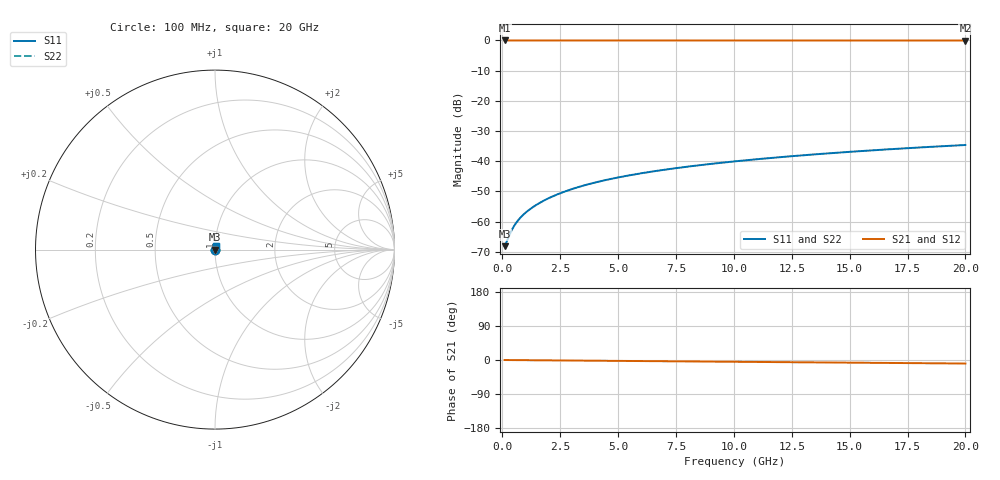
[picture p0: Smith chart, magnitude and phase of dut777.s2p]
! Touchstone file exported from HFSS 2026.1.0
!  File:  C:/ffzhzh/LocalFiles/Ansys_Project_Files/temp_train_TSV_777_1783183591_22436.aedt
!  Generated:  12:48:27 AM Jul  5, 2026
!  Design:  TSV
!  Project:  temp_train_TSV_777_1783183591_22436
! Variables:
!  h_bsmrdl = 2um
!  h_ox = 20um
!  h_rdl = 5um
!  h_sub = 98.69um
!  h_tmrdl = 5um
!  h_tsv = 98.69um
!  h_via = 3um
!  l_bsmrdl = 300um
!  l_sub = 411.8um
!  l_tmrdl = 200um
!  m_sub = 200um
!  pitch = 28.05um
!  r_tsv = 5.9um
!  s_tmrdl = 10um
!  w_bsmrdl = 18um
!  w_sub = 500um
!  w_tmrdl = 12um
!  x_tsv_center1 = 206um
!  x_tsv_center2 = 524um
!  x_tsv_center3 = 736um
!  x_tsv_center4 = 1054um
!  x_tsv_center5 = 1266um
!  x_tsv_center6 = 1584um
# GHz S MA R 50.000000
! Terminal data exported
! Port[1] = TSV1_1_T1
! Port[2] = TSV1_1_T2
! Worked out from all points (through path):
!   200 points, 100 MHz to 20 GHz, reference 50 ohm
!   highest |S21| = 0.00 dB at 100 MHz (marker M1); lowest = 0.0 dB at 20 GHz (marker M2)
!   group delay of S21, straight-line fit = 1.29 ps
!   lowest |S11| = -68.1 dB at 100 MHz (marker M3), VSWR 1.00, Z = 50 + j0.0151 ohm
!   |S11| at or under -10 dB: start of sweep to end of sweep
!   |S22| runs from -68.1 to -34.6 dB; largest |S21 - S12| = 2.2e-15
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0.1  0.0003929 22.6  0.9996 -0.0  0.9996 -0.0  0.0003929 22.6
! Gamma 0 0 0 0
! Port Impedance 50 0 50 0
0.3  0.0005952 47.7  0.9996 -0.1  0.9996 -0.1  0.0005952 47.7
0.4  0.0007165 53.4  0.9996 -0.2  0.9996 -0.2  0.0007165 53.4
0.5  0.0008381 56.9  0.9995 -0.2  0.9995 -0.2  0.0008381 56.9
0.6  0.0009569 59.4  0.9995 -0.3  0.9995 -0.3  0.0009569 59.4
0.8  0.001185 62.7  0.9995 -0.4  0.9995 -0.4  0.001185 62.7
1.1  0.001509 65.9  0.9994 -0.5  0.9994 -0.5  0.001509 65.9
1.3  0.001719 67.4  0.9993 -0.6  0.9993 -0.6  0.001719 67.4
1.6  0.00203 69.3  0.9993 -0.8  0.9993 -0.8  0.00203 69.3
2.1  0.002544 71.4  0.9992 -1.0  0.9992 -1.0  0.002544 71.4
2.7  0.003155 72.9  0.9991 -1.3  0.9991 -1.3  0.003155 72.9
3.5  0.003952 74.0  0.999 -1.7  0.999 -1.7  0.003952 74.0
4.2  0.004634 74.6  0.9989 -2.0  0.9989 -2.0  0.004634 74.6
5  0.005394 74.9  0.9988 -2.4  0.9988 -2.4  0.005394 74.9
5.9  0.006232 75.2  0.9987 -2.8  0.9987 -2.8  0.006232 75.2
6.8  0.007056 75.4  0.9986 -3.2  0.9986 -3.2  0.007056 75.4
8.3  0.00841 75.5  0.9984 -3.9  0.9984 -3.9  0.00841 75.5
10.1  0.01001 75.5  0.9983 -4.7  0.9983 -4.7  0.01001 75.5
11.7  0.01143 75.4  0.9981 -5.5  0.9981 -5.5  0.01143 75.4
13.4  0.01292 75.1  0.998 -6.3  0.998 -6.3  0.01292 75.1
16.7  0.01579 74.4  0.9977 -7.8  0.9977 -7.8  0.01579 74.4
20  0.01859 73.3  0.9974 -9.3  0.9974 -9.3  0.01859 73.3
